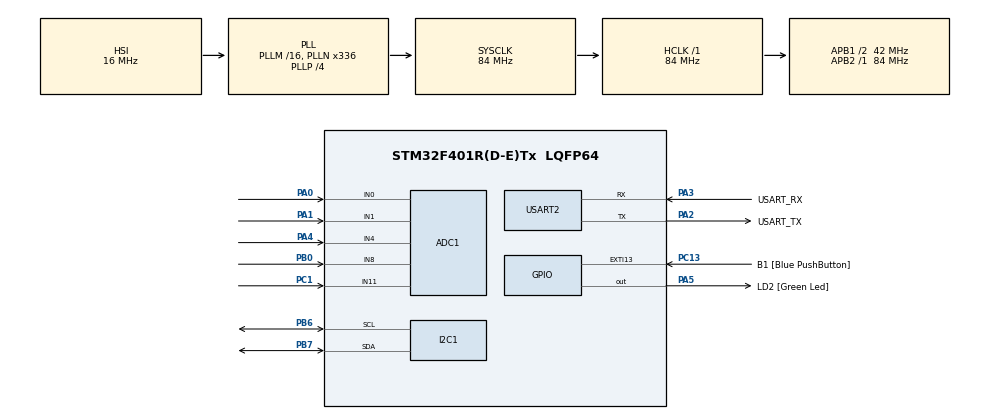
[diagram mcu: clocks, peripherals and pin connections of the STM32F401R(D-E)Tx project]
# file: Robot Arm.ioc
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ADC1.Channel-0\#ChannelRegularConversion=ADC_CHANNEL_0
ADC1.Channel-1\#ChannelRegularConversion=ADC_CHANNEL_1
ADC1.Channel-2\#ChannelRegularConversion=ADC_CHANNEL_4
ADC1.Channel-3\#ChannelRegularConversion=ADC_CHANNEL_8
ADC1.Channel-4\#ChannelRegularConversion=ADC_CHANNEL_11
ADC1.ContinuousConvMode=ENABLE
ADC1.DMAContinuousRequests=ENABLE
ADC1.EOCSelection=ADC_EOC_SEQ_CONV
ADC1.NbrOfConversion=5
ADC1.NbrOfConversionFlag=1
ADC1.Rank-0\#ChannelRegularConversion=1
ADC1.Rank-1\#ChannelRegularConversion=2
ADC1.Rank-2\#ChannelRegularConversion=3
ADC1.Rank-3\#ChannelRegularConversion=4
ADC1.Rank-4\#ChannelRegularConversion=5
ADC1.SamplingTime-0\#ChannelRegularConversion=ADC_SAMPLETIME_480CYCLES
ADC1.SamplingTime-1\#ChannelRegularConversion=ADC_SAMPLETIME_480CYCLES
ADC1.SamplingTime-2\#ChannelRegularConversion=ADC_SAMPLETIME_480CYCLES
ADC1.SamplingTime-3\#ChannelRegularConversion=ADC_SAMPLETIME_480CYCLES
ADC1.SamplingTime-4\#ChannelRegularConversion=ADC_SAMPLETIME_480CYCLES
ADC1.ScanConvMode=ENABLE
ADC1.master=1
Dma.ADC1.0.Direction=DMA_PERIPH_TO_MEMORY
Dma.ADC1.0.FIFOMode=DMA_FIFOMODE_DISABLE
Dma.ADC1.0.Instance=DMA2_Stream0
Dma.ADC1.0.MemDataAlignment=DMA_MDATAALIGN_WORD
Dma.ADC1.0.MemInc=DMA_MINC_ENABLE
Dma.ADC1.0.Mode=DMA_CIRCULAR
Dma.ADC1.0.PeriphDataAlignment=DMA_PDATAALIGN_WORD
Dma.ADC1.0.PeriphInc=DMA_PINC_DISABLE
Dma.ADC1.0.Priority=DMA_PRIORITY_HIGH
Dma.Request0=ADC1
Mcu.Family=STM32F4
Mcu.Name=STM32F401R(D-E)Tx
Mcu.Package=LQFP64
NVIC.ADC_IRQn=true\:1\:0\:true\:false\:true\:true\:true\:true
NVIC.DMA2_Stream0_IRQn=true\:0\:0\:false\:false\:true\:false\:true\:true
NVIC.PriorityGroup=NVIC_PRIORITYGROUP_4
PA0-WKUP.Signal=ADCx_IN0
PA1.Signal=ADCx_IN1
PA13.GPIO_Label=TMS
PA13.Mode=Trace_Asynchronous_SW
PA13.Signal=SYS_JTMS-SWDIO
PA14.GPIO_Label=TCK
PA14.Mode=Trace_Asynchronous_SW
PA14.Signal=SYS_JTCK-SWCLK
PA2.GPIO_Label=USART_TX
PA2.GPIO_Mode=GPIO_MODE_AF_PP
PA2.GPIO_PuPd=GPIO_NOPULL
PA2.GPIO_Speed=GPIO_SPEED_FREQ_LOW
PA2.Mode=Asynchronous
PA2.Signal=USART2_TX
PA3.GPIO_Label=USART_RX
PA3.GPIO_Mode=GPIO_MODE_AF_PP
PA3.GPIO_PuPd=GPIO_NOPULL
PA3.GPIO_Speed=GPIO_SPEED_FREQ_LOW
PA3.Mode=Asynchronous
PA3.Signal=USART2_RX
PA4.Signal=ADCx_IN4
PA5.GPIO_Label=LD2 [Green Led]
PA5.GPIO_Mode=GPIO_MODE_OUTPUT_PP
PA5.GPIO_PuPd=GPIO_NOPULL
PA5.GPIO_Speed=GPIO_SPEED_FREQ_LOW
PA5.Signal=GPIO_Output
PB0.Signal=ADCx_IN8
PB3.GPIO_Label=SWO
PB3.Mode=Trace_Asynchronous_SW
PB3.Signal=SYS_JTDO-SWO
PB6.Mode=I2C
PB6.Signal=I2C1_SCL
PB7.Mode=I2C
PB7.Signal=I2C1_SDA
PC1.Signal=ADCx_IN11
PC13-ANTI_TAMP.GPIO_Label=B1 [Blue PushButton]
PC13-ANTI_TAMP.GPIO_ModeDefaultEXTI=GPIO_MODE_IT_FALLING
PC13-ANTI_TAMP.GPIO_PuPd=GPIO_NOPULL
PC13-ANTI_TAMP.Signal=GPXTI13
PC14-OSC32_IN.Mode=LSE-External-Oscillator
PC14-OSC32_IN.Signal=RCC_OSC32_IN
PC15-OSC32_OUT.Mode=LSE-External-Oscillator
PC15-OSC32_OUT.Signal=RCC_OSC32_OUT
PH0\ -\ OSC_IN.Mode=HSE-External-Clock-Source
PH0\ -\ OSC_IN.Signal=RCC_OSC_IN
PH1\ -\ OSC_OUT.Mode=HSE-External-Clock-Source
PH1\ -\ OSC_OUT.Signal=RCC_OSC_OUT
ProjectManager.HeapSize=0x200
ProjectManager.StackSize=0x400
ProjectManager.TargetToolchain=STM32CubeIDE
RCC.48MHZClocksFreq_Value=48000000
RCC.AHBFreq_Value=84000000
RCC.APB1CLKDivider=RCC_HCLK_DIV2
RCC.APB1Freq_Value=42000000
RCC.APB1TimFreq_Value=84000000
RCC.APB2Freq_Value=84000000
RCC.APB2TimFreq_Value=84000000
RCC.CortexFreq_Value=84000000
RCC.HCLKFreq_Value=84000000
RCC.HSE_VALUE=8000000
RCC.HSI_VALUE=16000000
RCC.PLLN=336
RCC.PLLP=RCC_PLLP_DIV4
RCC.PLLQ=7
RCC.SYSCLKFreq_VALUE=84000000
RCC.SYSCLKSource=RCC_SYSCLKSOURCE_PLLCLK
RCC.VCOOutputFreq_Value=336000000
SH.ADCx_IN0.0=ADC1_IN0,IN0
SH.ADCx_IN1.0=ADC1_IN1,IN1
SH.ADCx_IN11.0=ADC1_IN11,IN11
SH.ADCx_IN4.0=ADC1_IN4,IN4
SH.ADCx_IN8.0=ADC1_IN8,IN8
USART2.VirtualMode=VM_ASYNC
board=NUCLEO-F401RE

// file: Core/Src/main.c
/* USER CODE BEGIN Header */
/**
  ******************************************************************************
  * @file           : main.c
  * @brief          : Main program body
  ******************************************************************************
  * @attention
  *
  * Copyright (c) 2025 STMicroelectronics.
  * All rights reserved.
  *
  * This software is licensed under terms that can be found in the LICENSE file
  * in the root directory of this software component.
  * If no LICENSE file comes with this software, it is provided AS-IS.
  *
  ******************************************************************************
  */
/* USER CODE END Header */
#include "main.h"

/* USER CODE BEGIN Includes */
#include <stdio.h>
#include <string.h>
/* USER CODE END Includes */

ADC_HandleTypeDef hadc1;
DMA_HandleTypeDef hdma_adc1;

I2C_HandleTypeDef hi2c1;

UART_HandleTypeDef huart2;

/* USER CODE BEGIN PV */

#define NUM_OF_SERVOS 5

const uint8_t adc_index[NUM_OF_SERVOS] = { 0, 2, 4, 6, 8 };
uint16_t ADC_buffer[NUM_OF_SERVOS * 2];
uint8_t servo_angles[NUM_OF_SERVOS];

char message[40] = {'\0'};

/* USER CODE END PV */

void SystemClock_Config(void);
static void MX_GPIO_Init(void);
static void MX_DMA_Init(void);
static void MX_USART2_UART_Init(void);
static void MX_I2C1_Init(void);
static void MX_ADC1_Init(void);
/* USER CODE BEGIN PFP */
void PCA9685_set_bit(uint8_t reg, uint8_t bit, uint8_t val);
void PCA9685_set_pwm_freq(uint16_t freq);
void PCA9685_init(uint16_t freq);
void PCA9685_set_pwm(uint8_t servo, uint16_t on_time, uint16_t off_time);
void PCA9685_set_servo_angle(uint8_t servo, float angle);
void update_servos(void);
/* USER CODE END PFP */

/* USER CODE BEGIN 0 */

// PCA9865 Core Constants
#define PCA9685_OSC_CLOCK 25000000 // 25MHz internal clock
#define PCA9685_PWM_RESOLUTION 4096 // 12 bit PWM internal resolution
#define PCA9685_MIN_PWM 102.4 // 0.5ms
#define PCA9685_MAX_PWM 512 // 2.5ms

// PCA9685 Addresses
#define PCA9685_ADDRESS   (0x40 << 1)  // 0x40 (100 0000) in datasheet, but lshifted because HAL uses 8 bits internally for r/w bit
#define PCA9685_MODE1     0x00 // Using MODE1, sounds like it works the way I want it to
#define PCA9685_PRESCALE  0xFE // Register address for the prescaler that sets PWM frequency
#define PCA9685_PWM0_ON_L 0x06 // Location of first 8 bits of PWM0 register (out of 12 - leaving those blank)

// MODE1 (8 bits) Register Control Bits
#define PCA9685_MODE1_SLEEP_BIT   4 // Bit 4 of MODE1
#define PCA9685_MODE1_AI_BIT      5 // Auto Increment Bit
#define PCA9685_MODE1_RESTART_BIT 7 // Restart Bit

/* @brief for I2C Mem Read and Write
 * hi2c:       Pointer to a I2C_HandleTypeDef structure that contains the configuration information for the specified I2C.
 * DevAddress: Target device address - The device 7 bits address value in datasheet must be shifted to the left before calling the interface
 * MemAddress: Internal memory address
 * MemAddSize: Size of internal memory address
 * pData:      Pointer to data buffer
 * Size:       Amount of data to be sent
 * Timeout:    Timeout duration in ms */
void PCA9685_set_bit(uint8_t reg, uint8_t bit, uint8_t val){
	uint8_t register_value;
	HAL_I2C_Mem_Read(&hi2c1, PCA9685_ADDRESS, reg, 1, &register_value, 1, 10);  // Read current value of specified reg into register_value
	register_value = ((register_value & ~(1 << bit)) | (val << bit));             // Clear specified bit, then or with val (=val)
	HAL_I2C_Mem_Write(&hi2c1, PCA9685_ADDRESS, reg, 1, &register_value, 1, 10); // Write modified register to PCA9685
	HAL_Delay(1); // Time to process the write
}

/* @brief for setting PWM frequency
 * This function calculates and writes a prescale value to the PCA9685 given
 * A desired frequency value
 * Internal oscillator clock speed
 * Internal pwm resolution */
void PCA9685_set_pwm_freq(uint16_t freq){ // 12-bit PWM, so freq represented in 16 bits
	uint8_t prescale;
	if(freq >= 1526) prescale = 0x03;
	else if (freq <= 24) prescale = 0xFF;
	prescale = (PCA9685_OSC_CLOCK/(PCA9685_PWM_RESOLUTION * freq));
	PCA9685_set_bit(PCA9685_MODE1, PCA9685_MODE1_SLEEP_BIT, 1);
	HAL_I2C_Mem_Write(&hi2c1, PCA9685_ADDRESS, PCA9685_PRESCALE, 1, &prescale, 1, 10);
	PCA9685_set_bit(PCA9685_MODE1, PCA9685_MODE1_SLEEP_BIT, 0);
	PCA9685_set_bit(PCA9685_MODE1, PCA9685_MODE1_RESTART_BIT, 1);
}

/* @brief for initializing PCA9685
 * This function sets the PWM frequency for the PCA9685 and sets the Auto-Increment Bit in MODE1
 * AI = 1 allows for writing to multiple bytes stored contiguously in PCA9685's internal memory, see set_pwm function */
void PCA9685_init(uint16_t freq){
	PCA9685_set_pwm_freq(freq);
	PCA9685_set_bit(PCA9685_MODE1, PCA9685_MODE1_AI_BIT, 1);
}

/* @brief for selecting servo and setting PWM
 * Each LED (servo) has 4 bytes for PWM
 * ON_L, ON_H, OFF_L, OFF_H
 * Masking and shifting on_time and off_time into respective locations in array
 * on_time will always be 0, so period always begins with high pulse
 * MODE1 bit 5 (AI) allows for contiguous memory writing */
void PCA9685_set_pwm(uint8_t servo, uint16_t on_time, uint16_t off_time){
	uint8_t pwm[4];
	uint8_t reg_address = PCA9685_PWM0_ON_L + (4 * servo);
	pwm[0] = on_time & 0xFF;
	pwm[1] = on_time >> 8;
	pwm[2] = off_time & 0xFF;
	pwm[3] = off_time >> 8;
	HAL_I2C_Mem_Write(&hi2c1, PCA9685_ADDRESS, reg_address, 1, pwm, 4, 10);
}

/* @brief for setting servo angle
 * Linear mapping from 0-180 degrees to to PWM.
 * Converts angle to pulse width between PCA9685_MIN_PWM and MAX_PWM
 * and writes it to the specified PCA9685 channel. */
void PCA9685_set_servo_angle(uint8_t servo, float angle){
	float val = PCA9685_MIN_PWM + (angle / 180.0f) * (PCA9685_MAX_PWM - PCA9685_MIN_PWM);
	PCA9685_set_pwm(servo, 0, (uint16_t)val);
}

/* @brief for converting ADC values
 * Converts 12-bit ADC value into an angle value (0-180) */
uint8_t ADC_to_angle(uint16_t potentiometer){
	uint8_t angle = (potentiometer * 180)/4095;
	if(angle > 180) angle = 180;
	return angle;
}

/* @brief for updating servos
 * Loops through continuous DMA-written ADC buffer (with offset indices)
 * and converts values to angles, then updates corresponding servo angle */
void update_servos(void){
	for (uint8_t i = 0; i < NUM_OF_SERVOS; i++) {
		uint16_t pot = ADC_buffer[adc_index[i]];
	    servo_angles[i] = ADC_to_angle(pot);
	    PCA9685_set_servo_angle(i, servo_angles[i]);
	}
}

/* USER CODE END 0 */

int main(void)
{

  /* MCU Configuration--------------------------------------------------------*/

  /* Reset of all peripherals, Initializes the Flash interface and the Systick. */
  HAL_Init();

  /* Configure the system clock */
  SystemClock_Config();

  /* Initialize all configured peripherals */
  MX_GPIO_Init();
  MX_DMA_Init();
  MX_USART2_UART_Init();
  MX_I2C1_Init();
  MX_ADC1_Init();
  /* USER CODE BEGIN 2 */

  PCA9685_init(50); // Servos require 50hz frequency
  HAL_ADC_Start_DMA(&hadc1, (uint32_t*)ADC_buffer, NUM_OF_SERVOS);

  /* USER CODE END 2 */

  /* Infinite loop */
  while (1)
  {

    /* USER CODE BEGIN 3 */
	  update_servos();
	  HAL_Delay(100);
  }
  /* USER CODE END 3 */
}

void SystemClock_Config(void)
{
  RCC_OscInitTypeDef RCC_OscInitStruct = {0};
  RCC_ClkInitTypeDef RCC_ClkInitStruct = {0};

  /** Configure the main internal regulator output voltage
  */
  __HAL_RCC_PWR_CLK_ENABLE();
  __HAL_PWR_VOLTAGESCALING_CONFIG(PWR_REGULATOR_VOLTAGE_SCALE2);

  /** Initializes the RCC Oscillators according to the specified parameters
  * in the RCC_OscInitTypeDef structure.
  */
  RCC_OscInitStruct.OscillatorType = RCC_OSCILLATORTYPE_HSI;
  RCC_OscInitStruct.HSIState = RCC_HSI_ON;
  RCC_OscInitStruct.HSICalibrationValue = RCC_HSICALIBRATION_DEFAULT;
  RCC_OscInitStruct.PLL.PLLState = RCC_PLL_ON;
  RCC_OscInitStruct.PLL.PLLSource = RCC_PLLSOURCE_HSI;
  RCC_OscInitStruct.PLL.PLLM = 16;
  RCC_OscInitStruct.PLL.PLLN = 336;
  RCC_OscInitStruct.PLL.PLLP = RCC_PLLP_DIV4;
  RCC_OscInitStruct.PLL.PLLQ = 7;
  if (HAL_RCC_OscConfig(&RCC_OscInitStruct) != HAL_OK)
  {
    Error_Handler();
  }

  /** Initializes the CPU, AHB and APB buses clocks
  */
  RCC_ClkInitStruct.ClockType = RCC_CLOCKTYPE_HCLK|RCC_CLOCKTYPE_SYSCLK
                              |RCC_CLOCKTYPE_PCLK1|RCC_CLOCKTYPE_PCLK2;
  RCC_ClkInitStruct.SYSCLKSource = RCC_SYSCLKSOURCE_PLLCLK;
  RCC_ClkInitStruct.AHBCLKDivider = RCC_SYSCLK_DIV1;
  RCC_ClkInitStruct.APB1CLKDivider = RCC_HCLK_DIV2;
  RCC_ClkInitStruct.APB2CLKDivider = RCC_HCLK_DIV1;

  if (HAL_RCC_ClockConfig(&RCC_ClkInitStruct, FLASH_LATENCY_2) != HAL_OK)
  {
    Error_Handler();
  }
}

static void MX_ADC1_Init(void)
{

  ADC_ChannelConfTypeDef sConfig = {0};

  /** Configure the global features of the ADC (Clock, Resolution, Data Alignment and number of conversion)
  */
  hadc1.Instance = ADC1;
  hadc1.Init.ClockPrescaler = ADC_CLOCK_SYNC_PCLK_DIV4;
  hadc1.Init.Resolution = ADC_RESOLUTION_12B;
  hadc1.Init.ScanConvMode = ENABLE;
  hadc1.Init.ContinuousConvMode = ENABLE;
  hadc1.Init.DiscontinuousConvMode = DISABLE;
  hadc1.Init.ExternalTrigConvEdge = ADC_EXTERNALTRIGCONVEDGE_NONE;
  hadc1.Init.ExternalTrigConv = ADC_SOFTWARE_START;
  hadc1.Init.DataAlign = ADC_DATAALIGN_RIGHT;
  hadc1.Init.NbrOfConversion = 5;
  hadc1.Init.DMAContinuousRequests = ENABLE;
  hadc1.Init.EOCSelection = ADC_EOC_SEQ_CONV;
  if (HAL_ADC_Init(&hadc1) != HAL_OK)
  {
    Error_Handler();
  }

  /** Configure for the selected ADC regular channel its corresponding rank in the sequencer and its sample time.
  */
  sConfig.Channel = ADC_CHANNEL_0;
  sConfig.Rank = 1;
  sConfig.SamplingTime = ADC_SAMPLETIME_480CYCLES;
  if (HAL_ADC_ConfigChannel(&hadc1, &sConfig) != HAL_OK)
  {
    Error_Handler();
  }

  /** Configure for the selected ADC regular channel its corresponding rank in the sequencer and its sample time.
  */
  sConfig.Channel = ADC_CHANNEL_1;
  sConfig.Rank = 2;
  if (HAL_ADC_ConfigChannel(&hadc1, &sConfig) != HAL_OK)
  {
    Error_Handler();
  }

  /** Configure for the selected ADC regular channel its corresponding rank in the sequencer and its sample time.
  */
  sConfig.Channel = ADC_CHANNEL_4;
  sConfig.Rank = 3;
  if (HAL_ADC_ConfigChannel(&hadc1, &sConfig) != HAL_OK)
  {
    Error_Handler();
  }

  /** Configure for the selected ADC regular channel its corresponding rank in the sequencer and its sample time.
  */
  sConfig.Channel = ADC_CHANNEL_8;
  sConfig.Rank = 4;
  if (HAL_ADC_ConfigChannel(&hadc1, &sConfig) != HAL_OK)
  {
    Error_Handler();
  }

  /** Configure for the selected ADC regular channel its corresponding rank in the sequencer and its sample time.
  */
  sConfig.Channel = ADC_CHANNEL_11;
  sConfig.Rank = 5;
  if (HAL_ADC_ConfigChannel(&hadc1, &sConfig) != HAL_OK)
  {
    Error_Handler();
  }

}

static void MX_I2C1_Init(void)
{

  hi2c1.Instance = I2C1;
  hi2c1.Init.ClockSpeed = 100000;
  hi2c1.Init.DutyCycle = I2C_DUTYCYCLE_2;
  hi2c1.Init.OwnAddress1 = 0;
  hi2c1.Init.AddressingMode = I2C_ADDRESSINGMODE_7BIT;
  hi2c1.Init.DualAddressMode = I2C_DUALADDRESS_DISABLE;
  hi2c1.Init.OwnAddress2 = 0;
  hi2c1.Init.GeneralCallMode = I2C_GENERALCALL_DISABLE;
  hi2c1.Init.NoStretchMode = I2C_NOSTRETCH_DISABLE;
  if (HAL_I2C_Init(&hi2c1) != HAL_OK)
  {
    Error_Handler();
  }

}

static void MX_USART2_UART_Init(void)
{

  huart2.Instance = USART2;
  huart2.Init.BaudRate = 115200;
  huart2.Init.WordLength = UART_WORDLENGTH_8B;
  huart2.Init.StopBits = UART_STOPBITS_1;
  huart2.Init.Parity = UART_PARITY_NONE;
  huart2.Init.Mode = UART_MODE_TX_RX;
  huart2.Init.HwFlowCtl = UART_HWCONTROL_NONE;
  huart2.Init.OverSampling = UART_OVERSAMPLING_16;
  if (HAL_UART_Init(&huart2) != HAL_OK)
  {
    Error_Handler();
  }

}

static void MX_DMA_Init(void)
{

  /* DMA controller clock enable */
  __HAL_RCC_DMA2_CLK_ENABLE();

  /* DMA interrupt init */
  /* DMA2_Stream0_IRQn interrupt configuration */
  HAL_NVIC_SetPriority(DMA2_Stream0_IRQn, 0, 0);
  HAL_NVIC_EnableIRQ(DMA2_Stream0_IRQn);

}

static void MX_GPIO_Init(void)
{
  GPIO_InitTypeDef GPIO_InitStruct = {0};

  /* GPIO Ports Clock Enable */
  __HAL_RCC_GPIOC_CLK_ENABLE();
  __HAL_RCC_GPIOH_CLK_ENABLE();
  __HAL_RCC_GPIOA_CLK_ENABLE();
  __HAL_RCC_GPIOB_CLK_ENABLE();

  /*Configure GPIO pin Output Level */
  HAL_GPIO_WritePin(LD2_GPIO_Port, LD2_Pin, GPIO_PIN_RESET);

  /*Configure GPIO pin : B1_Pin */
  GPIO_InitStruct.Pin = B1_Pin;
  GPIO_InitStruct.Mode = GPIO_MODE_IT_FALLING;
  GPIO_InitStruct.Pull = GPIO_NOPULL;
  HAL_GPIO_Init(B1_GPIO_Port, &GPIO_InitStruct);

  /*Configure GPIO pin : LD2_Pin */
  GPIO_InitStruct.Pin = LD2_Pin;
  GPIO_InitStruct.Mode = GPIO_MODE_OUTPUT_PP;
  GPIO_InitStruct.Pull = GPIO_NOPULL;
  GPIO_InitStruct.Speed = GPIO_SPEED_FREQ_LOW;
  HAL_GPIO_Init(LD2_GPIO_Port, &GPIO_InitStruct);

}

void Error_Handler(void)
{
  __disable_irq();
  while (1)
  {
  }
}
